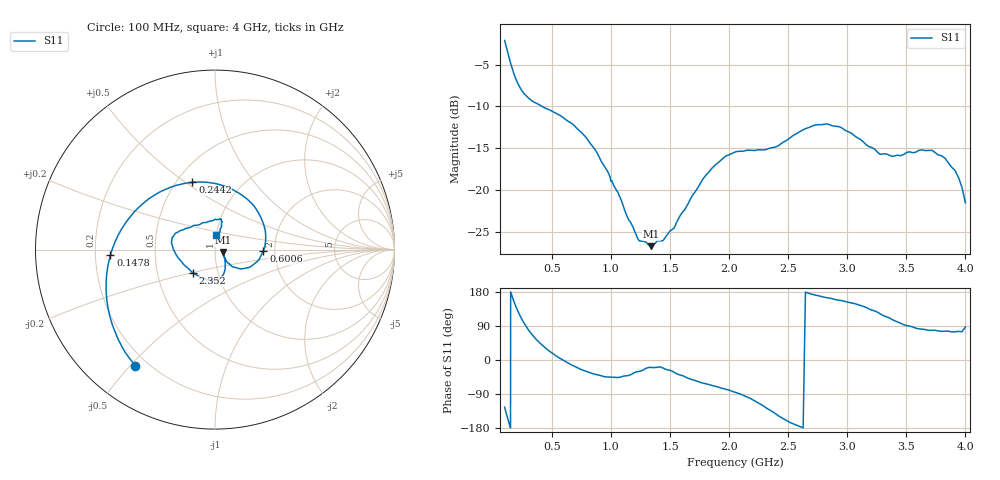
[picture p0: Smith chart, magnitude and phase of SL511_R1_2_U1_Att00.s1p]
!Keysight Technologies,P9370A,MY57212402,A.14.70.03
!Date: Wednesday, September 22, 2021 17:26:40
!Correction: S11(C  2-Port  )
!S1P File: Measurement: S11:Log Frequency Sweep
# Hz S  dB  R 50
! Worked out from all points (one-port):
!   501 points, 100 MHz to 4 GHz, reference 50 ohm
!   lowest |S11| = -26.7 dB at 1.342 GHz (marker M1), VSWR 1.10, Z = 54.5 - j1.71 ohm
!   |S11| at or under -10 dB: 417.2 MHz to end of sweep
!   S11 on the Smith chart (normalised r, x): 100 MHz: 0.15, -0.52; 147.8 MHz: 0.26, -0.03; 244.2 MHz: 0.60, +0.53; 600.6 MHz: 1.74, -0.02; 2.352 GHz: 0.76, -0.20; 4 GHz: 0.99, +0.17
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1e8  -2.10 -124.5
1.220425e8  -3.29 -149.8
1.47849e8  -4.68 -176.9
1.688467e8  -5.69 163.2
1.914091e8  -6.59 144.2
2.441735e8  -8.06 108.6
3.069207e8  -9.05 77.2
3.801419e8  -9.70 50.2
4.708312e8  -10.36 25.3
5.918245e8  -11.30 0.3
6.006219e8  -11.38 -1.4
7.384422e8  -12.99 -23.7
8.685747e8  -15.24 -38.0
1.075788e9  -20.84 -45.2
1.228573e9  -25.85 -30.6
1.342302e9  -26.72 -19.9
1.567244e9  -23.57 -37.7
1.829883e9  -17.83 -64.9
2.059156e9  -15.41 -85.8
2.351599e9  -14.97 -133.4
2.550402e9  -13.41 -169.4
2.786494e9  -12.19 167.2
3.044441e9  -13.31 150.0
3.301816e9  -15.69 117.6
3.528499e9  -15.43 89.5
3.770744e9  -15.81 76.7
3.883681e9  -17.27 74.2
4e9  -21.53 87.0
